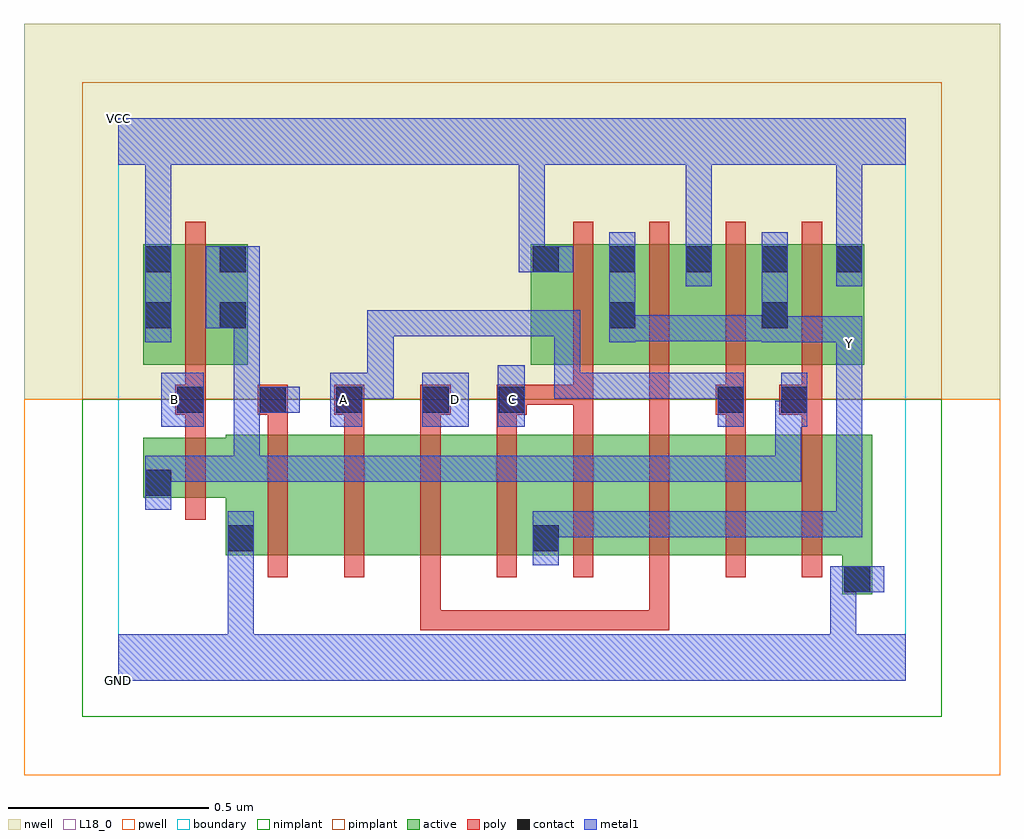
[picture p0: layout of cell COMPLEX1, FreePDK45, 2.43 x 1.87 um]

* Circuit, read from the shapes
.subckt COMPLEX1 A B C D GND VCC Y
M1 GND B n1 VSUBS nfet w=0.15u l=0.05u
M2 n2 n1 GND VSUBS nfet w=0.3u l=0.05u
M3 n3 A n2 VSUBS nfet w=0.3u l=0.05u
M4 n4 D n3 VSUBS nfet w=0.3u l=0.05u
M5 Y C n4 VSUBS nfet w=0.3u l=0.05u
M6 n5 C Y VSUBS nfet w=0.3u l=0.05u
M7 n6 D n5 VSUBS nfet w=0.3u l=0.05u
M8 n7 A n6 VSUBS nfet w=0.3u l=0.05u
M9 GND n1 n7 VSUBS nfet w=0.3u l=0.05u
M10 n1 B VCC n8 pfet w=0.3u l=0.05u
M11 Y C VCC n8 pfet w=0.3u l=0.05u
M12 VCC D Y n8 pfet w=0.3u l=0.05u
M13 Y A VCC n8 pfet w=0.3u l=0.05u
M14 VCC n1 Y n8 pfet w=0.3u l=0.05u
.ends

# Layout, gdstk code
import gdstk
lib = gdstk.Library(unit=1e-6, precision=1e-09)
def R(c, l, rs):  # rectangles x0, y0, x1, y1
    for r in rs: c.add(gdstk.rectangle(r[:2], r[2:], *l))
def A(c, l, x, y, w, h, nx, ny, dx, dy):  # array of equal rectangles
    R(c, l, [(x+i*dx, y+j*dy, x+i*dx+w, y+j*dy+h) for i in range(nx) for j in range(ny)])
active = (1, 0)
pwell = (2, 0)
nwell = (3, 0)
nimplant = (4, 0)
pimplant = (5, 0)
poly = (9, 0)
contact = (10, 0)
metal1 = (11, 0)
L18_0 = (18, 0)
boundary = (235, 0)

complex1 = lib.new_cell('COMPLEX1')
A(complex1, active, 1.027, 0.787, 0.265, 0.3, 3, 1, 0.19, 0)
R(complex1, active, [(1.802,0.215,1.877,0.612), (0.267,0.312,0.492,0.612), (0.267,0.312,0.342,0.605), (0.492,0.312,0.682,0.612), (0.682,0.312,0.872,0.612), (0.872,0.312,1.102,0.612), (1.027,0.312,1.252,0.612), (1.027,0.312,1.102,0.517), (1.252,0.312,1.442,0.612), (1.442,0.312,1.632,0.612), (1.632,0.312,1.877,0.612), (0.062,0.455,0.342,0.605), (0.062,0.455,0.137,0.605), (0.062,0.787,0.137,1.087), (0.062,0.787,0.322,1.087), (0.247,0.787,0.322,1.087), (1.597,0.787,1.857,1.087), (1.782,0.787,1.857,1.087), (1.027,0.872,1.102,1.087), (1.217,0.872,1.292,1.087), (1.597,0.872,1.672,1.087), (1.407,1.007,1.482,1.087)])
R(complex1, pwell, [(-0.235,-0.235,2.195,0.7)])
R(complex1, nwell, [(-0.235,0.7,2.195,1.635)])
R(complex1, nimplant, [(-0.09,-0.09,2.05,0.7)])
R(complex1, pimplant, [(-0.09,0.7,2.05,1.49)])
A(complex1, poly, 0.372, 0.257, 0.05, 0.41, 8, 1, 0.19, 0)
A(complex1, poly, 0.372, 0.617, 0.05, 0.095, 4, 1, 0.19, 0)
A(complex1, poly, 1.322, 0.617, 0.05, 0.095, 3, 1, 0.19, 0)
A(complex1, poly, 1.132, 0.732, 0.05, 0.41, 4, 1, 0.19, 0)
R(complex1, poly, [(0.752,0.125,0.802,0.175), (0.752,0.125,0.802,0.307), (0.752,0.125,1.05,0.175), (1,0.125,1.05,0.175), (1,0.125,1.05,0.175), (1,0.125,1.05,0.175), (1,0.125,1.24,0.175), (1.19,0.125,1.24,0.175), (1.19,0.125,1.24,0.175), (1.19,0.125,1.24,0.175), (1.19,0.125,1.372,0.175), (1.322,0.125,1.372,0.175), (1.322,0.125,1.372,0.175), (1.322,0.125,1.372,0.175), (1.322,0.125,1.372,0.307), (0.167,0.4,0.217,0.66), (0.167,0.61,0.217,0.712), (1.132,0.617,1.182,0.737), (0.142,0.662,0.217,0.737), (0.347,0.662,0.422,0.737), (0.537,0.662,0.612,0.737), (0.752,0.662,0.827,0.737), (0.942,0.662,1.017,0.737), (1.322,0.662,1.372,0.782), (1.322,0.662,1.372,0.712), (1.487,0.662,1.562,0.737), (1.645,0.662,1.752,0.737), (0.167,0.687,0.217,0.782), (0.967,0.687,1.182,0.737), (1.132,0.687,1.182,0.782), (1.132,0.687,1.182,0.737), (1.132,0.687,1.182,0.737), (1.132,0.687,1.182,0.737), (1.512,0.687,1.562,0.782), (1.702,0.687,1.752,0.782), (0.167,0.732,0.217,1.142)])
A(complex1, contact, 1.032, 1.017, 0.065, 0.065, 4, 1, 0.19, 0)
R(complex1, contact, [(1.807,0.22,1.872,0.285), (0.272,0.322,0.337,0.387), (1.032,0.322,1.097,0.387), (0.067,0.46,0.132,0.525), (0.147,0.667,0.212,0.732), (0.352,0.667,0.417,0.732), (0.542,0.667,0.607,0.732), (0.757,0.667,0.822,0.732), (0.947,0.667,1.012,0.732), (1.492,0.667,1.557,0.732), (1.65,0.667,1.715,0.732), (0.067,0.877,0.132,0.942), (0.252,0.877,0.317,0.942), (1.222,0.877,1.287,0.942), (1.602,0.877,1.667,0.942), (0.067,1.017,0.132,1.082), (0.252,1.017,0.317,1.082), (1.787,1.017,1.852,1.082)])
R(complex1, metal1, [(0,0,1.96,0.115), (0.272,0.05,0.337,0.115), (0.272,0.05,0.337,0.115), (0.272,0.05,0.337,0.115), (0.272,0.05,0.337,0.115), (0.272,0.05,0.337,0.352), (1.772,0.05,1.837,0.115), (1.772,0.05,1.837,0.115), (1.772,0.05,1.837,0.285), (1.772,0.22,1.837,0.285), (1.772,0.22,1.837,0.285), (1.772,0.22,1.907,0.285), (0.272,0.287,0.337,0.422), (1.032,0.287,1.097,0.422), (1.032,0.357,1.15,0.422), (1.085,0.357,1.15,0.422), (1.085,0.357,1.34,0.422), (1.275,0.357,1.34,0.422), (1.275,0.357,1.34,0.422), (1.275,0.357,1.34,0.422), (1.275,0.357,1.53,0.422), (1.465,0.357,1.53,0.422), (1.465,0.357,1.53,0.422), (1.465,0.357,1.53,0.422), (1.465,0.357,1.7,0.422), (1.635,0.357,1.7,0.422), (1.635,0.357,1.852,0.422), (1.787,0.357,1.852,0.422), (1.787,0.357,1.852,0.422), (1.787,0.357,1.852,0.422), (1.787,0.357,1.852,0.837), (0.067,0.425,0.132,0.56), (0.067,0.495,0.132,0.56), (0.067,0.495,0.132,0.56), (0.067,0.495,0.352,0.56), (0.287,0.495,0.352,0.56), (0.287,0.495,0.352,0.56), (0.287,0.495,0.352,0.56), (0.287,0.495,0.547,0.56), (0.287,0.495,0.352,0.732), (0.482,0.495,0.547,0.56), (0.482,0.495,0.547,0.56), (0.482,0.495,0.547,0.56), (0.482,0.495,0.745,0.56), (0.68,0.495,0.745,0.56), (0.68,0.495,0.745,0.56), (0.68,0.495,0.745,0.56), (0.68,0.495,0.925,0.56), (0.86,0.495,0.925,0.56), (0.86,0.495,0.925,0.56), (0.86,0.495,0.925,0.56), (0.86,0.495,1.15,0.56), (1.085,0.495,1.15,0.56), (1.085,0.495,1.15,0.56), (1.085,0.495,1.15,0.56), (1.085,0.495,1.34,0.56), (1.275,0.495,1.34,0.56), (1.275,0.495,1.34,0.56), (1.275,0.495,1.34,0.56), (1.275,0.495,1.477,0.56), (1.412,0.495,1.477,0.56), (1.412,0.495,1.477,0.56), (1.412,0.495,1.477,0.56), (1.412,0.495,1.7,0.56), (1.635,0.495,1.7,0.56), (1.635,0.495,1.7,0.697), (0.107,0.632,0.212,0.767), (0.527,0.632,0.607,0.767), (0.757,0.632,0.872,0.767), (0.945,0.632,1.012,0.785), (1.492,0.632,1.557,0.767), (1.635,0.632,1.7,0.697), (1.635,0.632,1.715,0.697), (1.65,0.632,1.715,0.767), (0.287,0.667,0.352,0.732), (0.287,0.667,0.352,0.942), (0.287,0.667,0.382,0.732), (0.317,0.667,0.452,0.732), (0.542,0.702,0.685,0.767), (0.62,0.702,0.685,0.767), (0.62,0.702,0.685,0.922), (1.085,0.702,1.15,0.767), (1.085,0.702,1.15,0.767), (1.085,0.702,1.15,0.767), (1.085,0.702,1.34,0.767), (1.085,0.702,1.15,0.922), (1.275,0.702,1.34,0.767), (1.275,0.702,1.34,0.767), (1.275,0.702,1.34,0.767), (1.275,0.702,1.477,0.767), (1.412,0.702,1.477,0.767), (1.412,0.702,1.557,0.767), (1.787,0.772,1.852,0.837), (1.787,0.772,1.852,0.837), (1.787,0.772,1.852,0.907), (0.067,0.842,0.132,1.117), (1.222,0.842,1.287,1.117), (1.602,0.842,1.852,0.907), (1.602,0.842,1.667,1.117), (1.787,0.842,1.852,0.907), (1.787,0.842,1.852,0.907), (1.787,0.842,1.852,0.907), (1.787,0.842,1.852,0.907), (1.222,0.845,1.287,0.91), (1.222,0.845,1.287,0.91), (1.222,0.845,1.477,0.91), (1.412,0.845,1.477,0.91), (1.412,0.845,1.477,0.91), (1.412,0.845,1.477,0.91), (1.412,0.845,1.667,0.91), (0.62,0.857,0.685,0.922), (0.62,0.857,0.745,0.922), (0.68,0.857,0.745,0.922), (0.68,0.857,0.882,0.922), (0.817,0.857,0.882,0.922), (0.817,0.857,0.882,0.922), (0.817,0.857,0.882,0.922), (0.817,0.857,1.15,0.922), (1.085,0.857,1.15,0.922), (0.217,0.877,0.352,1.082), (1.412,0.982,1.477,1.117), (1.787,0.982,1.852,1.117), (0.997,1.017,1.132,1.082), (0.997,1.017,1.062,1.35), (0.067,1.052,0.132,1.35), (1.412,1.052,1.477,1.35), (1.412,1.052,1.477,1.117), (1.412,1.052,1.477,1.117), (1.787,1.052,1.852,1.35), (0,1.285,1.96,1.4), (0.067,1.285,0.132,1.35), (0.067,1.285,0.132,1.35), (0.997,1.285,1.062,1.35), (0.997,1.285,1.062,1.35), (1.787,1.285,1.852,1.35), (1.787,1.285,1.852,1.35)])
A(complex1, L18_0, 1.787, 0.772, 0.065, 0.065, 1, 3, 0, 0.035)
R(complex1, L18_0, [(0,0,1.96,0.115), (0.272,0.05,0.337,0.115), (0.272,0.05,0.337,0.115), (0.272,0.05,0.337,0.115), (0.272,0.05,0.337,0.115), (0.272,0.05,0.337,0.352), (1.772,0.05,1.837,0.115), (1.772,0.05,1.837,0.115), (1.772,0.05,1.837,0.285), (1.772,0.22,1.837,0.285), (1.772,0.22,1.837,0.285), (1.772,0.22,1.907,0.285), (0.272,0.287,0.337,0.422), (1.032,0.287,1.097,0.422), (1.032,0.357,1.15,0.422), (1.085,0.357,1.15,0.422), (1.085,0.357,1.34,0.422), (1.275,0.357,1.34,0.422), (1.275,0.357,1.34,0.422), (1.275,0.357,1.34,0.422), (1.275,0.357,1.53,0.422), (1.465,0.357,1.53,0.422), (1.465,0.357,1.53,0.422), (1.465,0.357,1.53,0.422), (1.465,0.357,1.7,0.422), (1.635,0.357,1.7,0.422), (1.635,0.357,1.852,0.422), (1.787,0.357,1.852,0.422), (1.787,0.357,1.852,0.422), (1.787,0.357,1.852,0.422), (1.787,0.357,1.852,0.837), (0.107,0.632,0.212,0.767), (0.527,0.632,0.607,0.767), (0.757,0.632,0.872,0.767), (0.945,0.632,1.012,0.785), (1.492,0.632,1.557,0.767), (0.107,0.667,0.172,0.732), (0.527,0.667,0.592,0.732), (0.807,0.667,0.872,0.732), (0.947,0.667,1.012,0.732), (0.542,0.702,0.685,0.767), (0.62,0.702,0.685,0.767), (0.62,0.702,0.685,0.922), (1.085,0.702,1.15,0.767), (1.085,0.702,1.15,0.767), (1.085,0.702,1.15,0.767), (1.085,0.702,1.15,0.922), (1.085,0.702,1.34,0.767), (1.275,0.702,1.34,0.767), (1.275,0.702,1.34,0.767), (1.275,0.702,1.34,0.767), (1.275,0.702,1.477,0.767), (1.412,0.702,1.477,0.767), (1.412,0.702,1.557,0.767), (1.787,0.772,1.852,0.837), (1.787,0.772,1.852,0.907), (0.067,0.842,0.132,1.117), (1.222,0.842,1.287,1.117), (1.602,0.842,1.667,1.117), (1.602,0.842,1.852,0.907), (1.787,0.842,1.852,0.907), (1.787,0.842,1.852,0.907), (1.787,0.842,1.852,0.907), (1.222,0.845,1.287,0.91), (1.222,0.845,1.287,0.91), (1.222,0.845,1.477,0.91), (1.412,0.845,1.477,0.91), (1.412,0.845,1.477,0.91), (1.412,0.845,1.477,0.91), (1.412,0.845,1.667,0.91), (0.62,0.857,0.685,0.922), (0.62,0.857,0.745,0.922), (0.68,0.857,0.745,0.922), (0.68,0.857,0.882,0.922), (0.817,0.857,0.882,0.922), (0.817,0.857,0.882,0.922), (0.817,0.857,0.882,0.922), (0.817,0.857,1.15,0.922), (1.085,0.857,1.15,0.922), (1.412,0.982,1.477,1.117), (1.787,0.982,1.852,1.117), (0.997,1.017,1.132,1.082), (0.997,1.017,1.062,1.35), (0.067,1.052,0.132,1.35), (1.412,1.052,1.477,1.117), (1.412,1.052,1.477,1.117), (1.412,1.052,1.477,1.35), (1.787,1.052,1.852,1.35), (0,1.285,1.96,1.4), (0.067,1.285,0.132,1.35), (0.067,1.285,0.132,1.35), (0.997,1.285,1.062,1.35), (0.997,1.285,1.062,1.35), (1.787,1.285,1.852,1.35), (1.787,1.285,1.852,1.35)])
R(complex1, boundary, [(0,0,1.96,1.4)])
complex1.add(gdstk.Label('A', (0.56,0.7), layer=11, texttype=0))
complex1.add(gdstk.Label('B', (0.14,0.7), layer=11, texttype=0))
complex1.add(gdstk.Label('C', (0.98,0.7), layer=11, texttype=0))
complex1.add(gdstk.Label('D', (0.84,0.7), layer=11, texttype=0))
complex1.add(gdstk.Label('Y', (1.82,0.84), layer=11, texttype=0))
complex1.add(gdstk.Label('VCC', (0,1.4), layer=11, texttype=0))
complex1.add(gdstk.Label('GND', (0,0), layer=11, texttype=0))

lib.write_gds('COMPLEX1.gds')
